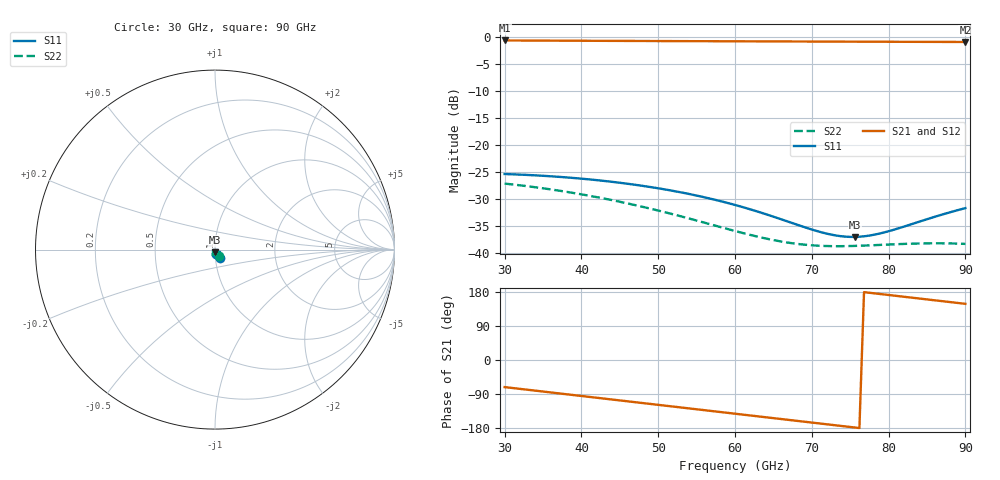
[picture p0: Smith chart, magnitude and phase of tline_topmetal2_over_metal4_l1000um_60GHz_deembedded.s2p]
! Created with skrf 2.0.1 (http://scikit-rf.org).
# GHz S DB R 50.0
!freq dBS11 angS11 dBS21 angS21 dBS12 angS12 dBS22 angS22
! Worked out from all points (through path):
!   101 points, 30 GHz to 90 GHz, reference 50 ohm
!   highest |S21| = -0.58 dB at 30 GHz (marker M1); lowest = -0.9 dB at 90 GHz (marker M2)
!   group delay of S21, straight-line fit = 6.49 ps
!   lowest |S11| = -37.1 dB at 75.6 GHz (marker M3), VSWR 1.03, Z = 50 - j1.4 ohm
!   |S11| at or under -10 dB: start of sweep to end of sweep
!   |S22| runs from -38.8 to -27.2 dB; largest |S21 - S12| = 1.1e-14
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30  -25.39 -61.2  -0.58 -71.5  -0.58 -71.5  -27.17 -59.3
33  -25.57 -68.5  -0.59 -78.5  -0.59 -78.5  -27.67 -66.3
35.4  -25.76 -74.1  -0.61 -84.2  -0.61 -84.2  -28.13 -71.7
37.8  -25.99 -79.6  -0.62 -89.8  -0.62 -89.8  -28.64 -76.9
40.2  -26.28 -84.9  -0.63 -95.4  -0.63 -95.4  -29.22 -81.8
42.6  -26.62 -90.0  -0.65 -101.0  -0.65 -101.0  -29.85 -86.5
45  -27.02 -94.9  -0.66 -106.6  -0.66 -106.6  -30.55 -90.9
47.4  -27.47 -99.6  -0.67 -112.3  -0.67 -112.3  -31.30 -94.9
50.4  -28.14 -105.0  -0.69 -119.3  -0.69 -119.3  -32.32 -99.2
55.2  -29.46 -112.5  -0.71 -130.5  -0.71 -130.5  -34.11 -103.9
60  -31.14 -117.6  -0.73 -141.7  -0.73 -141.7  -35.97 -105.2
63  -32.39 -118.9  -0.75 -148.7  -0.75 -148.7  -37.05 -103.8
65.4  -33.50 -118.3  -0.76 -154.3  -0.76 -154.3  -37.77 -101.7
67.8  -34.67 -115.8  -0.77 -159.9  -0.77 -159.9  -38.32 -98.9
70.2  -35.79 -110.7  -0.78 -165.6  -0.78 -165.6  -38.65 -95.9
73.2  -36.83 -100.3  -0.79 -172.6  -0.79 -172.6  -38.80 -92.6
75.6  -37.08 -89.8  -0.80 -178.2  -0.80 -178.2  -38.75 -91.0
78  -36.70 -79.7  -0.81 176.2  -0.81 176.2  -38.62 -90.4
80.4  -35.86 -71.7  -0.82 170.6  -0.82 170.6  -38.47 -90.8
82.8  -34.80 -66.4  -0.83 165.0  -0.83 165.0  -38.34 -92.1
85.2  -33.70 -63.5  -0.84 159.4  -0.84 159.4  -38.27 -94.3
90  -31.73 -62.8  -0.86 148.2  -0.86 148.2  -38.38 -100.4
